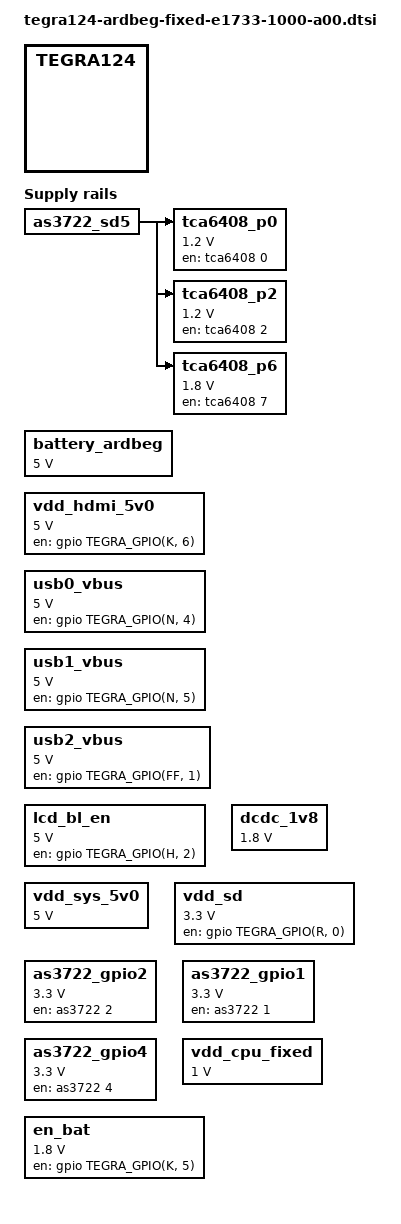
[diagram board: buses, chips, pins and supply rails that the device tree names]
#include <dt-bindings/gpio/tegra-gpio.h>

/ {
	i2c@7000c000 {
		tca6408: port@20 {
			compatible = "ti,tca6408";
			reg = <0x20>;
			gpio-controller;
			#gpio-cells = <2>;
		};
	};

	regulators {
		compatible = "simple-bus";
		device_type = "fixed-regulators";
		#address-cells = <1>;
		#size-cells = <0>;

		battery_ardbeg: regulator@0 {
			compatible = "regulator-fixed";
			reg = <0>;
			regulator-name = "vdd_ac_bat";
			regulator-min-microvolt = <5000000>;
			regulator-max-microvolt = <5000000>;
			regulator-always-on;

			consumers {
				c0 {
					regulator-consumer-supply = "vdd_sys_bl";
				};
			};
		};

		vdd_hdmi_5v0: regulator@1 {
			compatible = "regulator-fixed-sync";
			reg = <1>;
			regulator-name = "vdd-hdmi-5v0";
			regulator-min-microvolt = <5000000>;
			regulator-max-microvolt = <5000000>;
			gpio = <&gpio TEGRA_GPIO(K, 6) 0>;
			enable-active-high;

			consumers {
				c0 {
					regulator-consumer-supply = "vdd_hdmi_5v0";
					regulator-consumer-device = "tegradc.1";
				};
			};
		};

		usb0_vbus: regulator@2 {
			compatible = "regulator-fixed-sync";
			reg = <2>;
			regulator-name = "usb0-vbus";
			regulator-min-microvolt = <5000000>;
			regulator-max-microvolt = <5000000>;
			gpio = <&gpio TEGRA_GPIO(N, 4) 0>;
			enable-active-high;
			gpio-open-drain;

			consumers {
				c0 {
					regulator-consumer-supply = "usb_vbus";
					regulator-consumer-device = "tegra-ehci.0";
				};
				c1 {
					regulator-consumer-supply = "usb_vbus";
					regulator-consumer-device = "tegra-otg";
				};
				c2 {
					regulator-consumer-supply = "usb_vbus0";
					regulator-consumer-device = "tegra-xhci";
				};
			};
		};

		usb1_vbus: regulator@3 {
			compatible = "regulator-fixed-sync";
			reg = <3>;
			regulator-name = "usb1_vbus";
			regulator-min-microvolt = <5000000>;
			regulator-max-microvolt = <5000000>;
			gpio = <&gpio TEGRA_GPIO(N, 5) 0>;
			enable-active-high;
			gpio-open-drain;

			consumers {
				c0 {
					regulator-consumer-supply = "usb_vbus";
					regulator-consumer-device = "tegra-ehci.1";
				};
				c1 {
					regulator-consumer-supply = "usb_vbus1";
					regulator-consumer-device = "tegra-xhci";
				};
			};
		};

		usb2_vbus: regulator@4 {
			compatible = "regulator-fixed-sync";
			reg = <4>;
			regulator-name = "usb2_vbus";
			regulator-min-microvolt = <5000000>;
			regulator-max-microvolt = <5000000>;
			gpio = <&gpio TEGRA_GPIO(FF, 1) 0>;
			enable-active-high;
			gpio-open-drain;

			consumers {
				c0 {
					regulator-consumer-supply = "usb_vbus";
					regulator-consumer-device = "tegra-ehci.2";
				};
				c1 {
					regulator-consumer-supply = "usb_vbus2";
					regulator-consumer-device = "tegra-xhci";
				};
			};
		};

		lcd_bl_en: regulator@5 {
			compatible = "regulator-fixed-sync";
			reg = <5>;
			regulator-name = "lcd_bl_en";
			regulator-min-microvolt = <5000000>;
			regulator-max-microvolt = <5000000>;
			gpio = <&gpio TEGRA_GPIO(H, 2) 0>;
			enable-active-high;

			consumers {
				c0 {
					regulator-consumer-supply = "vdd_lcd_bl_en";
				};
			};
		};

		dcdc_1v8: regulator@6 {
			compatible = "regulator-fixed";
			reg = <6>;
			regulator-name = "dcdc-1v8";
			regulator-min-microvolt = <1800000>;
			regulator-max-microvolt = <1800000>;

			consumers {
				c0 {
					regulator-consumer-supply = "avdd_lvds0_pll";
				};
				c1 {
					regulator-consumer-supply = "vdd_ds_1v8";
				};
			};
		};

		vdd_sys_5v0: regulator@7 {
			compatible = "regulator-fixed";
			reg = <7>;
			regulator-name = "vdd-sys-5v0";
			regulator-min-microvolt = <5000000>;
			regulator-max-microvolt = <5000000>;

			consumers {
				c0 {
					regulator-consumer-supply = "vdd_spk_5v0";
				};
				c1 {
					regulator-consumer-supply = "spkvdd";
					regulator-consumer-device = "tegra-snd-rt5639.0";
				};
				c2 {
					regulator-consumer-supply = "spkvdd";
					regulator-consumer-device = "tegra-snd-rt5645.0";
				};
			};
		};

		vdd_sd: regulator@8 {
			compatible = "regulator-fixed-sync";
			reg = <8>;
			regulator-name = "vdd-sd";
			regulator-min-microvolt = <3300000>;
			regulator-max-microvolt = <3300000>;
			gpio = <&gpio TEGRA_GPIO(R, 0) 0>;
			enable-active-high;

			consumers {
				c0 {
					regulator-consumer-supply = "vddio_sd_slot";
					regulator-consumer-device = "sdhci-tegra.2";
				};
			};
		};

		as3722_gpio2: regulator@9 {
			compatible = "regulator-fixed-sync";
			reg = <9>;
			regulator-name = "as3722-gpio2";
			regulator-min-microvolt = <3300000>;
			regulator-max-microvolt = <3300000>;
			regulator-always-on;
			regulator-boot-on;
			gpio = <&as3722 2 0>;
			enable-active-high;

			consumers {
				c0 {
					regulator-consumer-supply = "micvdd";
					regulator-consumer-device = "tegra-snd-rt5645.0";
				};
				c1 {
					regulator-consumer-supply = "vddio_hv";
					regulator-consumer-device = "tegradc.1";
				};
				c2 {
					regulator-consumer-supply = "pwrdet_hv";
				};
				c3 {
					regulator-consumer-supply = "avdd_usb";
					regulator-consumer-device = "tegra-udc.0";
				};
				c4 {
					regulator-consumer-supply = "avdd_usb";
					regulator-consumer-device = "tegra-ehci.0";
				};
				c5 {
					regulator-consumer-supply = "avdd_usb";
					regulator-consumer-device = "tegra-ehci.1";
				};
				c6 {
					regulator-consumer-supply = "avdd_usb";
					regulator-consumer-device = "tegra-ehci.2";
				};
				c7 {
					regulator-consumer-supply = "hvdd_usb";
					regulator-consumer-device = "tegra-xhci";
				};
				c8 {
					regulator-consumer-supply = "vddio_sd_slot";
					regulator-consumer-device = "sdhci-tegra.3";
				};
				c9 {
					regulator-consumer-supply = "hvdd_pex";
					regulator-consumer-device = "tegra-pcie";
				};
				c10 {
					regulator-consumer-supply = "hvdd_pex_pll_e";
					regulator-consumer-device = "tegra-pcie";
				};
				c11 {
					regulator-consumer-supply = "vddio_pex_ctl";
					regulator-consumer-device = "tegra-pcie";
				};
				c12 {
					regulator-consumer-supply = "pwrdet_pex_ctl";
				};
				c13 {
					regulator-consumer-supply = "vdd";
					regulator-consumer-device = "0-0069";
				};
				c14 {
					regulator-consumer-supply = "vdd";
					regulator-consumer-device = "0-0048";
				};
				c15 {
					regulator-consumer-supply = "vdd";
					regulator-consumer-device = "stm8t143.2";
				};
				c16 {
					regulator-consumer-supply = "vdd";
					regulator-consumer-device = "0-000c";
				};
				c17 {
					regulator-consumer-supply = "vdd";
					regulator-consumer-device = "0-0077";
				};
				c18 {
					regulator-consumer-supply = "hvdd_sata";
					regulator-consumer-device = "tegra-sata.0";
				};
				c19 {
					regulator-consumer-supply = "vdd";
					regulator-consumer-device = "1-004c";
				};
				c20 {
					regulator-consumer-supply = "vdd";
					regulator-consumer-device = "1-004d";
				};
				c21 {
					regulator-consumer-supply = "vcc";
					regulator-consumer-device = "1-0071";
				};
			};
		};

		as3722_gpio1: regulator@10 {
			compatible = "regulator-fixed-sync";
			reg = <10>;
			regulator-name = "as3722-gpio1";
			regulator-min-microvolt = <3300000>;
			regulator-max-microvolt = <3300000>;
			gpio = <&as3722 1 0>;
			enable-active-high;

			consumers {
				c0 {
					regulator-consumer-supply = "vdd_wwan_mdm";
				};
			};
		};

		as3722_gpio4: regulator@11 {
			compatible = "regulator-fixed-sync";
			reg = <11>;
			regulator-name = "as3722-gpio4";
			regulator-min-microvolt = <3300000>;
			regulator-max-microvolt = <3300000>;
			gpio = <&as3722 4 0>;
			enable-active-high;

			consumers {
				c0 {
					regulator-consumer-supply = "avdd_lcd";
				};
			};
		};

		tca6408_p0: regulator@12 {
			compatible = "regulator-fixed-sync";
			reg = <12>;
			regulator-name = "tca6408-p0";
			regulator-min-microvolt = <1200000>;
			regulator-max-microvolt = <1200000>;
			vin-supply = <&as3722_sd5>;
			gpio = <&tca6408 0 0>;
			enable-active-high;

			consumers {
				c0 {
					regulator-consumer-supply = "vdd_lcd_1v2_s";
				};
			};
		};

		tca6408_p2: regulator@13 {
			compatible = "regulator-fixed-sync";
			reg = <13>;
			regulator-name = "tca6408-p2";
			regulator-min-microvolt = <1200000>;
			regulator-max-microvolt = <1200000>;
			vin-supply = <&as3722_sd5>;
			gpio = <&tca6408 2 0>;
			enable-active-high;

			consumers {
				c0 {
					regulator-consumer-supply = "ldoen";
					regulator-consumer-device = "tegra-snd-rt5639.0";
				};
			};
		};

		tca6408_p6: regulator@14 {
			compatible = "regulator-fixed-sync";
			reg = <14>;
			regulator-name = "tca6408-p6";
			regulator-min-microvolt = <1800000>;
			regulator-max-microvolt = <1800000>;
			vin-supply = <&as3722_sd5>;
			gpio = <&tca6408 7 0>;
			enable-active-high;

			consumers {
				c0 {
					regulator-consumer-supply = "dvdd_lcd";
				};
				c1 {
					regulator-consumer-supply = "vdd_lcd_1v8_s";
				};
			};
		};

		vdd_cpu_fixed: regulator@15 {
			compatible = "regulator-fixed";
			reg = <15>;
			regulator-name = "vdd-cpu-fixed";
			regulator-min-microvolt = <1000000>;
			regulator-max-microvolt = <1000000>;
			regulator-boot-on;

			consumers {
				c0 {
				regulator-consumer-supply = "vdd_cpu_fixed";
				};
			};
		};

		en_bat: regulator@16 {
			compatible = "regulator-fixed-sync";
			reg = <16>;
			regulator-name = "en-bat";
			regulator-min-microvolt = <1800000>;
			regulator-max-microvolt = <1800000>;
			regulator-always-on;
			regulator-boot-on;
			gpio = <&gpio TEGRA_GPIO(K, 5) 0>;
			enable-active-high;
		};
	};
};
